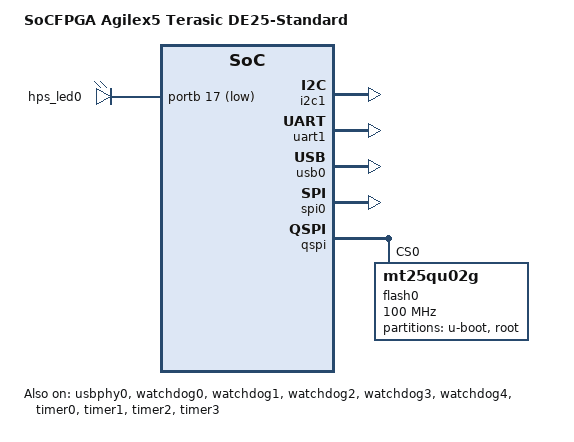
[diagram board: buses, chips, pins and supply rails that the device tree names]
// SPDX-License-Identifier:     GPL-2.0
/*
 * Copyright (C) 2026 Altera Corporation <www.altera.com>
 */
#include "socfpga_agilex5.dtsi"

/ {
	model = "SoCFPGA Agilex5 Terasic DE25-Standard";

	aliases {
		serial0 = &uart1;
		ethernet0 = &gmac0;
	};

	leds {
		compatible = "gpio-leds";
		hps0 {
			label = "hps_led0";
			gpios = <&portb 17 GPIO_ACTIVE_LOW>;
		};
	};

	memory {
		device_type = "memory";
		/* We expect the bootloader to fill in the reg */
		reg = <0 0 0 0>;
	};

	soc {
		clocks {
			osc1 {
				clock-frequency = <25000000>;
			};
		};
	};
};

&gpio1 {
	status = "okay";
};

&i2c1 {
	status = "okay";
};

&mmc {
	sd-uhs-sdr104;
	sdhci-caps-mask = <0x00002000 0x0000ff00>;
};

&uart1 {
	status = "okay";
	bootph-all;
};

&usbphy0 {
	status = "okay";
};

&usb0 {
	status = "okay";
	disable-over-current;
};

&watchdog0 {
	status = "okay";
};

&watchdog1 {
	status = "okay";
};

&watchdog2 {
	status = "okay";
};

&watchdog3 {
	status = "okay";
};

&watchdog4 {
	status = "okay";
};

&timer0 {
	status = "okay";
};

&timer1 {
	status = "okay";
};

&timer2 {
	status = "okay";
};

&timer3 {
	status = "okay";
};

&spi0 {
	status = "okay";
};

&nand {
	status = "disabled";

	flash1: flash@0 {
		reg = <0>;
		#address-cells = <1>;
		#size-cells = <1>;

		partition@0 {
			label = "u-boot";
			reg = <0 0x200000>;
		};
		partition@200000 {
			label = "root";
			reg = <0x200000 0x3fe00000>;
		};
	};
};

&qspi {
	flash0: flash@0 {
		#address-cells = <1>;
		#size-cells = <1>;
		compatible = "mt25qu02g";
		reg = <0>;
		spi-max-frequency = <100000000>;

		m25p,fast-read;
		cdns,page-size = <256>;
		cdns,block-size = <16>;
		cdns,read-delay = <1>;
		cdns,tshsl-ns = <50>;
		cdns,tsd2d-ns = <50>;
		cdns,tchsh-ns = <4>;
		cdns,tslch-ns = <4>;

		partitions {
			compatible = "fixed-partitions";
			#address-cells = <1>;
			#size-cells = <1>;

			qspi_boot: partition@0 {
				label = "u-boot";
				reg = <0x0 0x04200000>;
			};

			root: partition@4200000 {
				label = "root";
				reg = <0x04200000 0x0BE00000>;
			};
		};
	};
};
